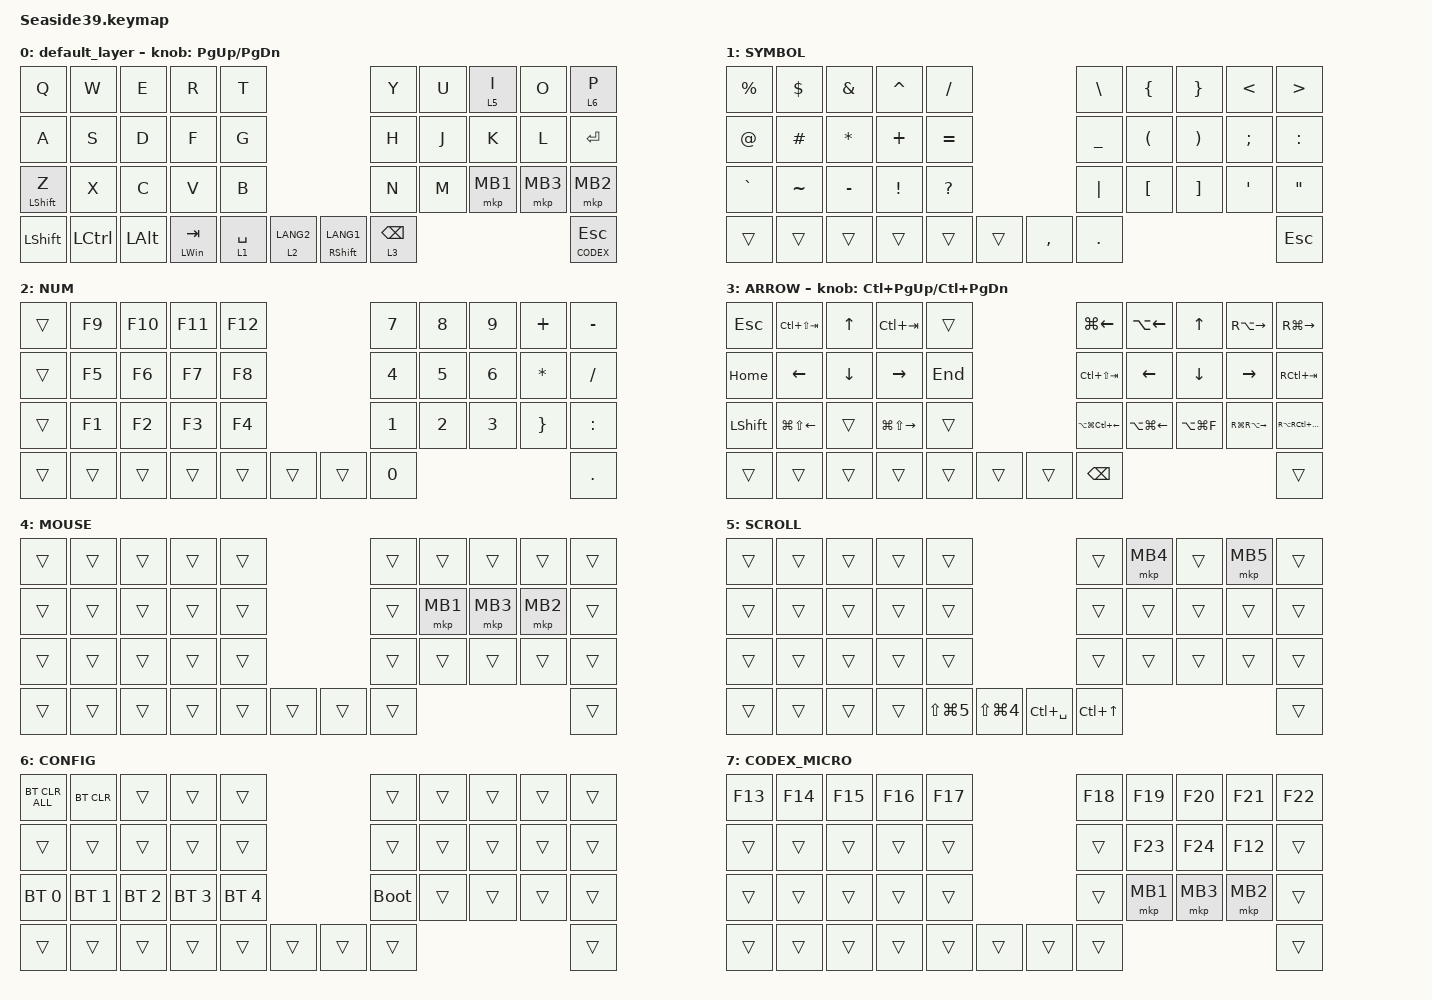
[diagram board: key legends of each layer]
#include <behaviors.dtsi>
#include <dt-bindings/zmk/bt.h>
#include <dt-bindings/zmk/keys.h>
#include <dt-bindings/zmk/pointing.h>

#define MOUSE 4
#define SCROLL 5
#define NUM 6
#define CODEX 7

&mt {
    flavor = "balanced";
    quick-tap-ms = <300>;
};

&lt {
    flavor = "balanced";
    quick-tap-ms = <300>;
};

/ {
    combos { compatible = "zmk,combos"; };

    macros {
        to_layer_0: to_layer_0 {
            compatible = "zmk,behavior-macro-one-param";
            #binding-cells = <1>;
            bindings = <&to 0 &macro_param_1to1 &kp MACRO_PLACEHOLDER>;
            label = "TO_LAYER_0";
        };
    };

    behaviors {
        lt_to_layer_0: lt_to_layer_0 {
            compatible = "zmk,behavior-hold-tap";
            label = "LAYER_TAP_TO_0";
            bindings = <&mo>, <&to_layer_0>;

            #binding-cells = <2>;
            tapping-term-ms = <200>;
        };
    };

    keymap {
        compatible = "zmk,keymap";

        default_layer {
            bindings = <
&kp Q             &kp W      &kp E         &kp R             &kp T                                                &kp Y            &kp U  &lt 5 I   &kp O     &lt 6 P
&kp A             &kp S      &kp D         &kp F             &kp G                                                &kp H            &kp J  &kp K     &kp L     &kp ENTER
&mt LEFT_SHIFT Z  &kp X      &kp C         &kp V             &kp B                                                &kp N            &kp M  &mkp MB1  &mkp MB3  &mkp MB2
&kp LEFT_SHIFT    &kp LCTRL  &kp LEFT_ALT  &mt LEFT_WIN TAB  &lt 1 SPACE  &lt 2 LANG2      &mt RIGHT_SHIFT LANG1  &lt 3 BACKSPACE                             &lt CODEX ESCAPE
            >;

            sensor-bindings = <&inc_dec_kp PG_UP PAGE_DOWN>;
        };

        SYMBOL {
            bindings = <
&kp PRCNT  &kp DOLLAR  &kp AMPERSAND  &kp CARET        &kp FSLH                             &kp BSLH        &kp LEFT_BRACE        &kp RIGHT_BRACE        &kp LESS_THAN  &kp GREATER_THAN
&kp AT     &kp HASH    &kp ASTERISK   &kp PLUS         &kp EQUAL                            &kp UNDERSCORE  &kp LEFT_PARENTHESIS  &kp RIGHT_PARENTHESIS  &kp SEMI       &kp COLON
&kp GRAVE  &kp TILDE   &kp MINUS      &kp EXCLAMATION  &kp QUESTION                         &kp PIPE        &kp LBKT              &kp RBKT               &kp SQT        &kp DOUBLE_QUOTES
&trans     &trans      &trans         &trans           &trans        &trans      &kp COMMA  &kp PERIOD                                                                  &kp ESC
            >;
        };

        NUM {
            bindings = <
&trans  &kp F9  &kp F10  &kp F11  &kp F12                      &kp N7        &kp NUMBER_8  &kp NUMBER_9  &kp PLUS         &kp MINUS
&trans  &kp F5  &kp F6   &kp F7   &kp F8                       &kp NUMBER_4  &kp NUMBER_5  &kp NUMBER_6  &kp ASTERISK     &kp SLASH
&trans  &kp F1  &kp F2   &kp F3   &kp F4                       &kp NUMBER_1  &kp NUMBER_2  &kp NUMBER_3  &kp RIGHT_BRACE  &kp COLON
&trans  &trans  &trans   &trans   &trans   &trans      &trans  &kp NUMBER_0                                               &kp PERIOD
            >;
        };

        ARROW {
            bindings = <
&kp ESCAPE      &kp LC(LS(TAB))         &kp UP_ARROW    &kp LC(TAB)              &trans                       &kp LG(LEFT_ARROW)          &kp LA(LEFT_ARROW)      &kp UP_ARROW    &kp RA(RIGHT_ARROW)      &kp RG(RIGHT_ARROW)
&kp HOME        &kp LEFT_ARROW          &kp DOWN_ARROW  &kp RIGHT_ARROW          &kp END                      &kp LC(LS(TAB))             &kp LEFT_ARROW          &kp DOWN_ARROW  &kp RIGHT_ARROW          &kp RC(TAB)
&kp LEFT_SHIFT  &kp LG(LS(LEFT_ARROW))  &trans          &kp LG(LS(RIGHT_ARROW))  &trans                       &kp LA(LG(LC(LEFT_ARROW)))  &kp LA(LG(LEFT_ARROW))  &kp LA(LG(F))   &kp RG(RA(RIGHT_ARROW))  &kp RA(RC(RG(RIGHT_ARROW)))
&trans          &trans                  &trans          &trans                   &trans   &trans      &trans  &kp BACKSPACE                                                                                &trans
            >;

            sensor-bindings = <&inc_dec_kp LC(PAGE_UP) LC(PAGE_DOWN)>;
        };

        MOUSE {
            bindings = <
&trans  &trans  &trans  &trans  &trans                      &trans  &trans    &trans    &trans    &trans
&trans  &trans  &trans  &trans  &trans                      &trans  &mkp MB1  &mkp MB3  &mkp MB2  &trans
&trans  &trans  &trans  &trans  &trans                      &trans  &trans    &trans    &trans    &trans
&trans  &trans  &trans  &trans  &trans  &trans      &trans  &trans                                &trans
            >;
        };

        SCROLL {
            bindings = <
&trans  &trans  &trans  &trans  &trans                                             &trans            &mkp MB4  &trans  &mkp MB5  &trans
&trans  &trans  &trans  &trans  &trans                                             &trans            &trans    &trans  &trans    &trans
&trans  &trans  &trans  &trans  &trans                                             &trans            &trans    &trans  &trans    &trans
&trans  &trans  &trans  &trans  &kp LS(LG(N5))  &kp LS(LG(N4))      &kp LC(SPACE)  &kp LC(UP_ARROW)                              &trans
            >;
        };

        CONFIG {
            bindings = <
&bt BT_CLR_ALL  &bt BT_CLR    &trans        &trans        &trans                            &trans       &trans  &trans  &trans  &trans
&trans          &trans        &trans        &trans        &trans                            &trans       &trans  &trans  &trans  &trans
&bt BT_SEL 0    &bt BT_SEL 1  &bt BT_SEL 2  &bt BT_SEL 3  &bt BT_SEL 4                      &bootloader  &trans  &trans  &trans  &trans
&trans          &trans        &trans        &trans        &trans        &trans      &trans  &trans                               &trans
            >;
        };

        CODEX_MICRO {
            bindings = <
&kp F13  &kp F14  &kp F15  &kp F16  &kp F17                      &kp F18  &kp F19  &kp F20  &kp F21  &kp F22
&trans   &trans   &trans   &trans   &trans                       &trans   &kp F23  &kp F24  &kp F12  &trans
&trans   &trans   &trans   &trans   &trans                       &trans   &mkp MB1  &mkp MB3 &mkp MB2 &trans
&trans   &trans   &trans   &trans   &trans   &trans      &trans  &trans                       &trans
            >;
        };
    };
};
